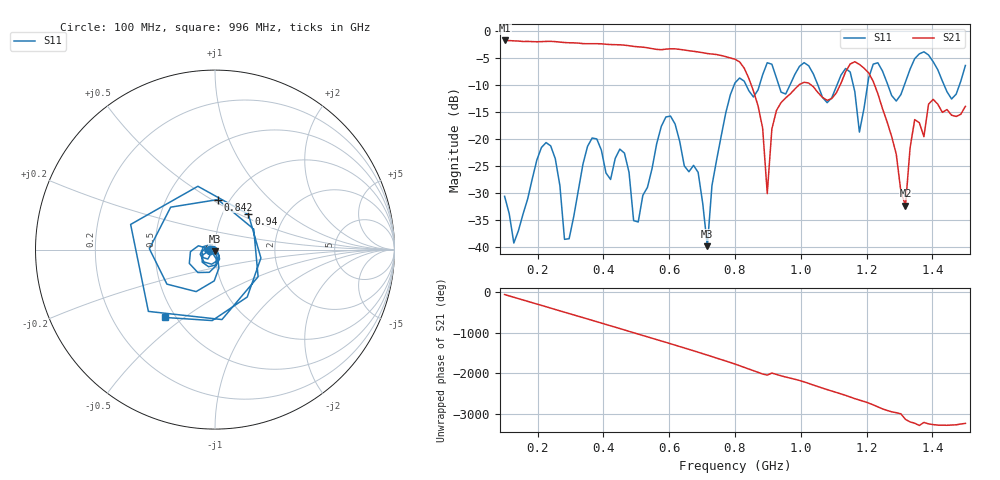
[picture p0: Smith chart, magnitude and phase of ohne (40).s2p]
! NanoVNA-App
! Date: 2025-09-26 09:55:42
! Start: 100MHz Stop: 1,5GHz Points: 101
! S-Parameter data: F S11 S21 S12 S22
# Hz S RI R 50
!  Frequency  S11_Real  S11_Imag  S21_Real  S21_Imag  S12_Real  S12_Imag  S22_Real  S22_Imag
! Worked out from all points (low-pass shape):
!   101 points, 100 MHz to 1.5 GHz, reference 50 ohm
!   highest |S21| = -1.79 dB at 100 MHz (marker M1); lowest = -32.3 dB at 1.318 GHz (marker M2)
!   |S21| within 3 dB of the highest: start of sweep to 771.9 MHz
!   lowest |S11| = -39.8 dB at 716 MHz (marker M3), VSWR 1.02, Z = 49.8 - j0.997 ohm
!   |S11| at or under -10 dB: start of sweep to 797.7 MHz; 833.4 MHz to 874.7 MHz (41.31 MHz wide, 4.84 % of centre); 1.052 GHz to 1.11 GHz (58.48 MHz wide, 5.41 % of centre)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
!   S12 and S22 are empty: the file has one direction only
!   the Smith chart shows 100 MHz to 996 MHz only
!   S11 on the Smith chart (normalised r, x): 100 MHz: 0.94, -0.01; 842 MHz: 0.88, +0.53; 940 MHz: 1.32, +0.56; 996 MHz: 0.44, -0.43
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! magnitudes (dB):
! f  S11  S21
! 100 MHz  -30.6  -1.8
! 128 MHz  -39.3  -1.9
! 226 MHz  -20.7  -2.0
! 296 MHz  -38.5  -2.2
! 338 MHz  -24.7  -2.4
! 464 MHz  -22.6  -2.7
! 506 MHz  -35.4  -3.0
! 576 MHz  -17.7  -3.5
! 688 MHz  -26.2  -3.9
! 716 MHz  -39.8  -4.2
! 800 MHz  -9.6  -5.3
! 842 MHz  -11.1  -8.8
! 898 MHz  -5.9  -30.1
! 940 MHz  -11.3  -13.3
! 996 MHz  -6.6  -9.9
! 1.038 GHz  -8.0  -10.4
! 1.178 GHz  -18.7  -6.2
! 1.22 GHz  -6.2  -9.4
! 1.276 GHz  -12.0  -19.6
! 1.318 GHz  -9.5  -32.3
! 1.346 GHz  -5.2  -16.4
! 1.5 GHz  -6.4  -14.0
